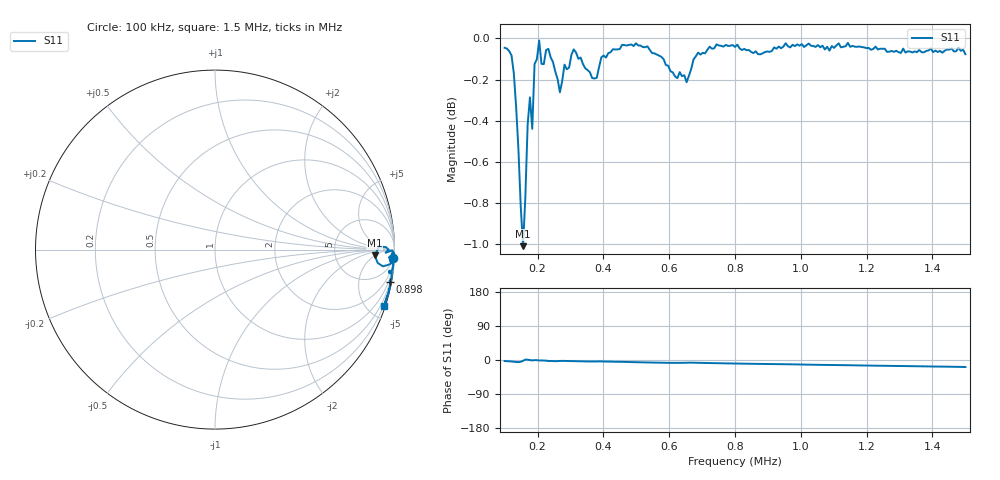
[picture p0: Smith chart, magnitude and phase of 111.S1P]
!Agilent Technologies,E5071C,MY46100305,A.07.02
!Date: Fri Jan 01 01:31:46 1988
!Data & Calibration Information:
!Freq	S11:SOLT1(ON)
# Hz S MA R 50
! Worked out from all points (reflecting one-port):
!   201 points, 100 kHz to 1.5 MHz, reference 50 ohm
!   lowest |S11| = -1.0 dB at 156 kHz (marker M1), VSWR 17.19, Z = 781 - j247 ohm
!   phase of S11 starts at -3 deg and turns -16 deg over the sweep
!   S11 on the Smith chart (normalised r, x): 100 kHz: 5, -42; 898 kHz: 0, -11; 1.5 MHz: 0.17, -6.13
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100000  0.9948 -2.7
121000  0.9906 -3.9
142000  0.9396 -5.7
149000  0.9101 -4.7
156000  0.8901 -2.1
163000  0.9149 1.1
170000  0.9529 0.8
177000  0.9675 -0.1
184000  0.9506 -1.1
191000  0.9858 -0.3
205000  0.9989 -1.3
212000  0.9859 -1.2
233000  0.9942 -2.7
254000  0.9816 -3.1
275000  0.9764 -2.3
310000  0.9939 -3.1
373000  0.9778 -3.8
387000  0.9841 -3.4
450000  0.9941 -4.7
625000  0.978 -7.6
660000  0.9793 -6.9
688000  0.9921 -7.4
800000  0.9953 -9.4
898000  0.9928 -10.6
975000  0.9965 -11.5
1150000  0.9953 -13.8
1325000  0.9928 -16.2
1500000  0.9912 -18.5
